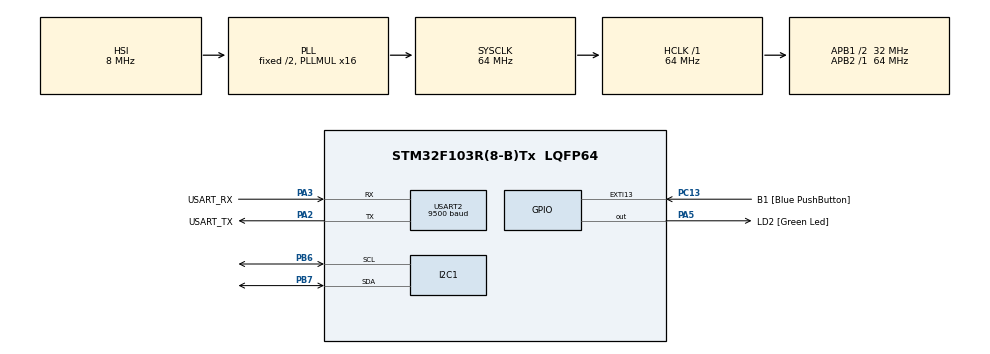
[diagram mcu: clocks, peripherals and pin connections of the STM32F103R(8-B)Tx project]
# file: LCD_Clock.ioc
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I2C1.I2C_Mode=I2C_Fast
Mcu.Family=STM32F1
Mcu.Name=STM32F103R(8-B)Tx
Mcu.Package=LQFP64
NVIC.EXTI15_10_IRQn=true\:0\:0\:false\:false\:true\:true\:true\:true
NVIC.PriorityGroup=NVIC_PRIORITYGROUP_4
NVIC.TIM2_IRQn=true\:0\:0\:false\:false\:true\:true\:true\:true
PA13.GPIO_Label=TMS
PA13.Mode=Serial_Wire
PA13.Signal=SYS_JTMS-SWDIO
PA14.GPIO_Label=TCK
PA14.Mode=Serial_Wire
PA14.Signal=SYS_JTCK-SWCLK
PA2.GPIO_Label=USART_TX
PA2.GPIO_Mode=GPIO_MODE_AF_PP
PA2.GPIO_PuPd=GPIO_NOPULL
PA2.GPIO_Speed=GPIO_SPEED_FREQ_LOW
PA2.Mode=Asynchronous
PA2.Signal=USART2_TX
PA3.GPIO_Label=USART_RX
PA3.GPIO_Mode=GPIO_MODE_AF_PP
PA3.GPIO_PuPd=GPIO_NOPULL
PA3.GPIO_Speed=GPIO_SPEED_FREQ_LOW
PA3.Mode=Asynchronous
PA3.Signal=USART2_RX
PA5.GPIO_Label=LD2 [Green Led]
PA5.GPIO_ModeDefaultOutputPP=GPIO_MODE_OUTPUT_PP
PA5.GPIO_PuPd=GPIO_NOPULL
PA5.GPIO_Speed=GPIO_SPEED_FREQ_LOW
PA5.Signal=GPIO_Output
PB3.GPIO_Label=SWO
PB3.Signal=SYS_JTDO-TRACESWO
PB6.Mode=I2C
PB6.Signal=I2C1_SCL
PB7.Mode=I2C
PB7.Signal=I2C1_SDA
PC13-TAMPER-RTC.GPIO_Label=B1 [Blue PushButton]
PC13-TAMPER-RTC.GPIO_PuPd=GPIO_NOPULL
PC13-TAMPER-RTC.Signal=GPXTI13
PC14-OSC32_IN.Mode=LSE-External-Oscillator
PC14-OSC32_IN.Signal=RCC_OSC32_IN
PC15-OSC32_OUT.Mode=LSE-External-Oscillator
PC15-OSC32_OUT.Signal=RCC_OSC32_OUT
PD0-OSC_IN.Mode=HSE-External-Clock-Source
PD0-OSC_IN.Signal=RCC_OSC_IN
PD1-OSC_OUT.Mode=HSE-External-Clock-Source
PD1-OSC_OUT.Signal=RCC_OSC_OUT
ProjectManager.HeapSize=0x200
ProjectManager.StackSize=0x400
ProjectManager.TargetToolchain=STM32CubeIDE
RCC.AHBFreq_Value=64000000
RCC.APB1CLKDivider=RCC_HCLK_DIV2
RCC.APB1Freq_Value=32000000
RCC.APB1TimFreq_Value=64000000
RCC.APB2Freq_Value=64000000
RCC.APB2TimFreq_Value=64000000
RCC.HCLKFreq_Value=64000000
RCC.PLLMUL=RCC_PLL_MUL16
RCC.RTCClockSelection=RCC_RTCCLKSOURCE_LSE
RCC.SYSCLKFreq_VALUE=64000000
RCC.SYSCLKSource=RCC_SYSCLKSOURCE_PLLCLK
RCC.USBFreq_Value=64000000
TIM2.Channel-Output\ Compare1\ No\ Output=TIM_CHANNEL_1
TIM2.Period=1000-1
TIM2.Prescaler=6400
USART2.BaudRate=9500
USART2.VirtualMode=VM_ASYNC
VP_TIM2_VS_ClockSourceINT.Mode=Internal
VP_TIM2_VS_no_output1.Mode=Output Compare1 No Output
board=NUCLEO-F103RB

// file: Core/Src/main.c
/* USER CODE BEGIN Header */
/**
  ******************************************************************************
  * @file           : main.c
  * @brief          : Main program body
  ******************************************************************************
  * @attention
  *
  * Copyright (c) 2022 STMicroelectronics.
  * All rights reserved.
  *
  * This software is licensed under terms that can be found in the LICENSE file
  * in the root directory of this software component.
  * If no LICENSE file comes with this software, it is provided AS-IS.
  *
  ******************************************************************************
  */
/* USER CODE END Header */
#include "main.h"

 I2C_HandleTypeDef hi2c1;

TIM_HandleTypeDef htim2;

UART_HandleTypeDef huart2;

/* USER CODE BEGIN PV */
char time_str[20];
int second  = 37;
int minuet = 59;
int hour = 3;
/* USER CODE END PV */

void SystemClock_Config(void);
static void MX_GPIO_Init(void);
static void MX_USART2_UART_Init(void);
static void MX_I2C1_Init(void);
static void MX_TIM2_Init(void);
/* USER CODE BEGIN PFP */
#ifdef __GNUC__
/* With GCC, small printf (option LD Linker->Libraries->Small printf
   set to 'Yes') calls __io_putchar() */
#define PUTCHAR_PROTOTYPE int __io_putchar(int ch)
#else
#define PUTCHAR_PROTOTYPE int fputc(int ch, FILE *f)
#endif /* __GNUC__ */

PUTCHAR_PROTOTYPE
{
  /* Place your implementation of fputc here */
  /* e.g. write a character to the USART1 and Loop until the end of transmission */
  HAL_UART_Transmit(&huart2, (uint8_t *)&ch, 1, 0xFFFF);

  return ch;
}
/* USER CODE END PFP */

int main(void)
{

  /* MCU Configuration--------------------------------------------------------*/

  /* Reset of all peripherals, Initializes the Flash interface and the Systick. */
  HAL_Init();

  /* Configure the system clock */
  SystemClock_Config();

  /* Initialize all configured peripherals */
  MX_GPIO_Init();
  MX_USART2_UART_Init();
  MX_I2C1_Init();
  MX_TIM2_Init();
  /* USER CODE BEGIN 2 */
  HAL_TIM_Base_Start_IT(&htim2);
  lcd_init();
  lcd_send_string("clock");
  /* USER CODE END 2 */

  /* Infinite loop */
  while (1)
  {

  }
}

void SystemClock_Config(void)
{
  RCC_OscInitTypeDef RCC_OscInitStruct = {0};
  RCC_ClkInitTypeDef RCC_ClkInitStruct = {0};

  /** Initializes the RCC Oscillators according to the specified parameters
  * in the RCC_OscInitTypeDef structure.
  */
  RCC_OscInitStruct.OscillatorType = RCC_OSCILLATORTYPE_HSI;
  RCC_OscInitStruct.HSIState = RCC_HSI_ON;
  RCC_OscInitStruct.HSICalibrationValue = RCC_HSICALIBRATION_DEFAULT;
  RCC_OscInitStruct.PLL.PLLState = RCC_PLL_ON;
  RCC_OscInitStruct.PLL.PLLSource = RCC_PLLSOURCE_HSI_DIV2;
  RCC_OscInitStruct.PLL.PLLMUL = RCC_PLL_MUL16;
  if (HAL_RCC_OscConfig(&RCC_OscInitStruct) != HAL_OK)
  {
    Error_Handler();
  }

  /** Initializes the CPU, AHB and APB buses clocks
  */
  RCC_ClkInitStruct.ClockType = RCC_CLOCKTYPE_HCLK|RCC_CLOCKTYPE_SYSCLK
                              |RCC_CLOCKTYPE_PCLK1|RCC_CLOCKTYPE_PCLK2;
  RCC_ClkInitStruct.SYSCLKSource = RCC_SYSCLKSOURCE_PLLCLK;
  RCC_ClkInitStruct.AHBCLKDivider = RCC_SYSCLK_DIV1;
  RCC_ClkInitStruct.APB1CLKDivider = RCC_HCLK_DIV2;
  RCC_ClkInitStruct.APB2CLKDivider = RCC_HCLK_DIV1;

  if (HAL_RCC_ClockConfig(&RCC_ClkInitStruct, FLASH_LATENCY_2) != HAL_OK)
  {
    Error_Handler();
  }
}

static void MX_I2C1_Init(void)
{

  hi2c1.Instance = I2C1;
  hi2c1.Init.ClockSpeed = 400000;
  hi2c1.Init.DutyCycle = I2C_DUTYCYCLE_2;
  hi2c1.Init.OwnAddress1 = 0;
  hi2c1.Init.AddressingMode = I2C_ADDRESSINGMODE_7BIT;
  hi2c1.Init.DualAddressMode = I2C_DUALADDRESS_DISABLE;
  hi2c1.Init.OwnAddress2 = 0;
  hi2c1.Init.GeneralCallMode = I2C_GENERALCALL_DISABLE;
  hi2c1.Init.NoStretchMode = I2C_NOSTRETCH_DISABLE;
  if (HAL_I2C_Init(&hi2c1) != HAL_OK)
  {
    Error_Handler();
  }

}

static void MX_TIM2_Init(void)
{

  TIM_ClockConfigTypeDef sClockSourceConfig = {0};
  TIM_MasterConfigTypeDef sMasterConfig = {0};
  TIM_OC_InitTypeDef sConfigOC = {0};

  htim2.Instance = TIM2;
  htim2.Init.Prescaler = 6400;
  htim2.Init.CounterMode = TIM_COUNTERMODE_UP;
  htim2.Init.Period = 10000-1;
  htim2.Init.ClockDivision = TIM_CLOCKDIVISION_DIV1;
  htim2.Init.AutoReloadPreload = TIM_AUTORELOAD_PRELOAD_DISABLE;
  if (HAL_TIM_Base_Init(&htim2) != HAL_OK)
  {
    Error_Handler();
  }
  sClockSourceConfig.ClockSource = TIM_CLOCKSOURCE_INTERNAL;
  if (HAL_TIM_ConfigClockSource(&htim2, &sClockSourceConfig) != HAL_OK)
  {
    Error_Handler();
  }
  if (HAL_TIM_OC_Init(&htim2) != HAL_OK)
  {
    Error_Handler();
  }
  sMasterConfig.MasterOutputTrigger = TIM_TRGO_RESET;
  sMasterConfig.MasterSlaveMode = TIM_MASTERSLAVEMODE_DISABLE;
  if (HAL_TIMEx_MasterConfigSynchronization(&htim2, &sMasterConfig) != HAL_OK)
  {
    Error_Handler();
  }
  sConfigOC.OCMode = TIM_OCMODE_TIMING;
  sConfigOC.Pulse = 0;
  sConfigOC.OCPolarity = TIM_OCPOLARITY_HIGH;
  sConfigOC.OCFastMode = TIM_OCFAST_DISABLE;
  if (HAL_TIM_OC_ConfigChannel(&htim2, &sConfigOC, TIM_CHANNEL_1) != HAL_OK)
  {
    Error_Handler();
  }

}

static void MX_USART2_UART_Init(void)
{

  huart2.Instance = USART2;
  huart2.Init.BaudRate = 9500;
  huart2.Init.WordLength = UART_WORDLENGTH_8B;
  huart2.Init.StopBits = UART_STOPBITS_1;
  huart2.Init.Parity = UART_PARITY_NONE;
  huart2.Init.Mode = UART_MODE_TX_RX;
  huart2.Init.HwFlowCtl = UART_HWCONTROL_NONE;
  huart2.Init.OverSampling = UART_OVERSAMPLING_16;
  if (HAL_UART_Init(&huart2) != HAL_OK)
  {
    Error_Handler();
  }

}

static void MX_GPIO_Init(void)
{
  GPIO_InitTypeDef GPIO_InitStruct = {0};

  /* GPIO Ports Clock Enable */
  __HAL_RCC_GPIOC_CLK_ENABLE();
  __HAL_RCC_GPIOD_CLK_ENABLE();
  __HAL_RCC_GPIOA_CLK_ENABLE();
  __HAL_RCC_GPIOB_CLK_ENABLE();

  /*Configure GPIO pin Output Level */
  HAL_GPIO_WritePin(LD2_GPIO_Port, LD2_Pin, GPIO_PIN_RESET);

  /*Configure GPIO pin : B1_Pin */
  GPIO_InitStruct.Pin = B1_Pin;
  GPIO_InitStruct.Mode = GPIO_MODE_IT_RISING;
  GPIO_InitStruct.Pull = GPIO_NOPULL;
  HAL_GPIO_Init(B1_GPIO_Port, &GPIO_InitStruct);

  /*Configure GPIO pin : LD2_Pin */
  GPIO_InitStruct.Pin = LD2_Pin;
  GPIO_InitStruct.Mode = GPIO_MODE_OUTPUT_PP;
  GPIO_InitStruct.Pull = GPIO_NOPULL;
  GPIO_InitStruct.Speed = GPIO_SPEED_FREQ_LOW;
  HAL_GPIO_Init(LD2_GPIO_Port, &GPIO_InitStruct);

  /* EXTI interrupt init*/
  HAL_NVIC_SetPriority(EXTI15_10_IRQn, 0, 0);
  HAL_NVIC_EnableIRQ(EXTI15_10_IRQn);

}

/* USER CODE BEGIN 4 */
void HAL_TIM_PeriodElapsedCallback(TIM_HandleTypeDef *htim) {

	second += 1;

	if(second == 60){
		minuet += 1;
		second = 0;
	}
	if(minuet == 60){
		hour += 1;
		minuet = 0;
	}
	sprintf(time_str, "%d : %d : %d  ", hour, minuet, second);
	lcd_put_cur(1,0);
	lcd_send_string(time_str);
}
/* USER CODE END 4 */

void Error_Handler(void)
{
  __disable_irq();
  while (1)
  {
  }
}
